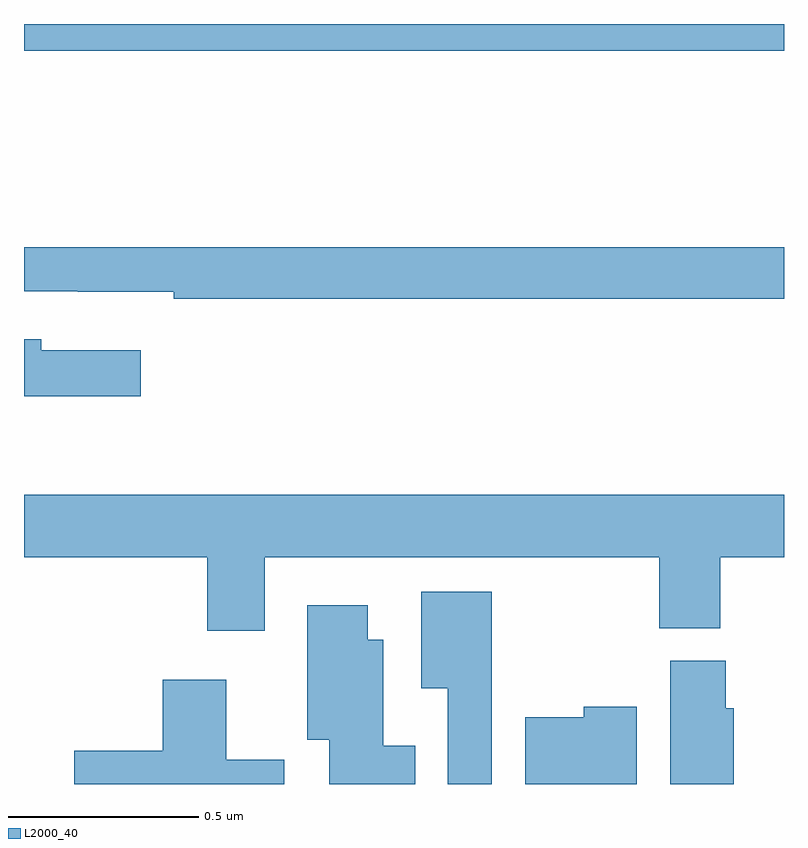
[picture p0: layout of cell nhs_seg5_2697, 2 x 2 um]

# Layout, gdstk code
import gdstk
lib = gdstk.Library(unit=1e-6, precision=1e-09)
def R(c, l, rs):  # rectangles x0, y0, x1, y1
    for r in rs: c.add(gdstk.rectangle(r[:2], r[2:], *l))
def P(c, l, *ps):  # polygons
    for p in ps: c.add(gdstk.Polygon(p, *l))
L2000_40 = (2000, 40)

nhs_seg5_2697 = lib.new_cell('nhs_seg5_2697')
R(nhs_seg5_2697, L2000_40, [(147,888.728,149,888.799)])
P(nhs_seg5_2697, L2000_40, [(149,888.212),(147,888.212),(147,888.096),(147.142,888.096),(147.142,888.095),(147.394,888.095),(147.394,888.076),(149,888.076)],
  [(147.307,887.941),(147.046,887.941),(147.046,887.97),(147,887.97),(147,887.819),(147.307,887.819)],
  [(147.634,887.396),(148.672,887.396),(148.672,887.209),(148.832,887.209),(148.832,887.396),(149,887.396),(149,887.56),(147,887.56),(147,887.396),(147.482,887.396),(147.482,887.202),(147.634,887.202)],
  [(148.231,887.305),(148.046,887.305),(148.046,887.051),(148.115,887.051),(148.115,886.799),(148.231,886.799)],
  [(148.03,886.9),(147.946,886.9),(147.946,887.179),(147.904,887.179),(147.904,887.269),(147.746,887.269),(147.746,886.916),(147.803,886.916),(147.803,886.799),(148.03,886.799)],
  [(148.868,886.998),(148.847,886.998),(148.847,887.124),(148.7,887.124),(148.7,886.799),(148.868,886.799)],
  [(147.685,886.863),(147.532,886.863),(147.532,887.074),(147.365,887.074),(147.365,886.886),(147.132,886.886),(147.132,886.799),(147.685,886.799)],
  [(148.612,887.002),(148.473,887.002),(148.473,886.975),(148.319,886.975),(148.319,886.799),(148.612,886.799)])

lib.write_gds('nhs_seg5_2697.gds')
